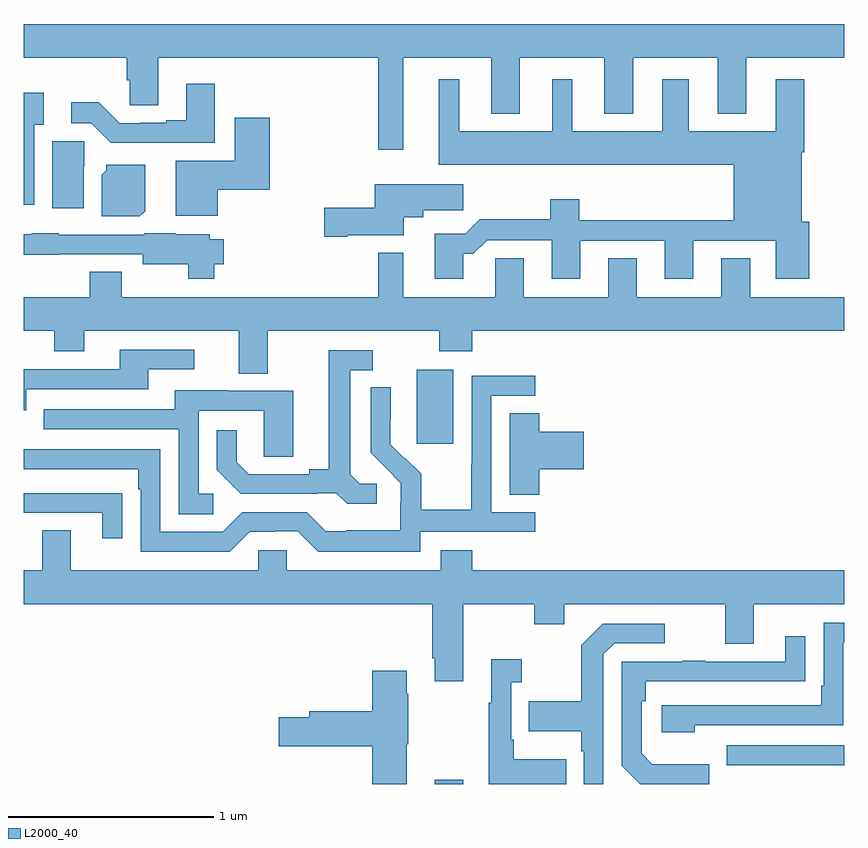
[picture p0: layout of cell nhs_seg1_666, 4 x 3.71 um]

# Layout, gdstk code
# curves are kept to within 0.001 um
import gdstk
lib = gdstk.Library(unit=1e-6, precision=1e-09)
def R(c, l, rs):  # rectangles x0, y0, x1, y1
    for r in rs: c.add(gdstk.rectangle(r[:2], r[2:], *l))
def P(c, l, *ps):  # polygons
    for p in ps: c.add(gdstk.Polygon(p, *l))
L2000_40 = (2000, 40)

nhs_seg1_666 = lib.new_cell('nhs_seg1_666')
R(nhs_seg1_666, L2000_40, [(149.003,540.199,149.143,540.22), (150.427,540.291,151,540.387), (148.916,541.857,149.095,542.218)])
P(nhs_seg1_666, L2000_40, [(148.849,543.74),(149.279,543.74),(149.279,543.467),(149.419,543.467),(149.419,543.74),(149.831,543.74),(149.831,543.467),(149.971,543.467),(149.971,543.74),(150.383,543.74),(150.383,543.467),(150.523,543.467),(150.523,543.74),(151,543.74),(151,543.904),(147,543.904),(147,543.74),(147.503,543.74),(147.503,543.63),(147.516,543.63),(147.516,543.508),(147.655,543.508),(147.655,543.74),(148.728,543.74),(148.728,543.291),(148.849,543.291)],
  [(149.143,542.783),(149.192,542.783),(149.259,542.85),(149.573,542.85),(149.573,542.661),(149.713,542.661),(149.713,542.847),(150.125,542.847),(150.125,542.661),(150.265,542.661),(150.265,542.847),(150.665,542.847),(150.665,542.661),(150.83,542.661),(150.83,542.94),(150.793,542.94),(150.793,543.278),(150.806,543.278),(150.806,543.634),(150.665,543.634),(150.665,543.382),(150.241,543.382),(150.241,543.634),(150.113,543.634),(150.113,543.382),(149.674,543.382),(149.674,543.634),(149.576,543.634),(149.576,543.382),(149.122,543.382),(149.122,543.634),(149.024,543.634),(149.024,543.218),(150.461,543.218),(150.461,542.948),(149.708,542.948),(149.708,543.049),(149.566,543.049),(149.566,542.951),(149.222,542.951),(149.152,542.881),(149.003,542.881),(149.003,542.661),(149.143,542.661)],
  [(147.931,543.613),(147.791,543.613),(147.791,543.436),(147.695,543.436),(147.695,543.423),(147.568,543.423),(147.568,543.42),(147.468,543.42),(147.366,543.523),(147.231,543.523),(147.231,543.42),(147.33,543.42),(147.424,543.326),(147.931,543.326)],
  [(147.052,543.414),(147.097,543.414),(147.097,543.568),(147,543.568),(147,543.024),(147.052,543.024)],
  [(147.946,543.095),(148.199,543.095),(148.199,543.448),(148.028,543.448),(148.028,543.238),(147.74,543.238),(147.74,542.969),(147.946,542.969)],
  [(147.292,543.21),(147.296,543.21),(147.296,543.333),(147.14,543.333),(147.14,543.006),(147.292,543.006)],
  [(147.592,542.992),(147.592,543.217),(147.402,543.217),(147.402,543.192),(147.38,543.17),(147.38,542.966),(147.566,542.966)],
  [(148.576,542.873),(148.852,542.873),(148.852,542.963),(148.948,542.963),(148.948,542.995),(149.143,542.995),(149.143,543.124),(148.712,543.124),(148.712,543.008),(148.464,543.008),(148.464,542.866),(148.576,542.866)],
  [(147.929,542.732),(147.974,542.732),(147.974,542.854),(147.906,542.854),(147.906,542.878),(147.738,542.878),(147.738,542.884),(147.588,542.884),(147.588,542.877),(147.171,542.877),(147.171,542.884),(147.039,542.884),(147.039,542.878),(147,542.878),(147,542.78),(147.171,542.78),(147.171,542.781),(147.581,542.781),(147.581,542.732),(147.801,542.732),(147.801,542.663),(147.929,542.663)],
  [(148.189,542.408),(149.026,542.408),(149.026,542.309),(149.186,542.309),(149.186,542.408),(151,542.408),(151,542.572),(150.541,542.572),(150.541,542.762),(150.401,542.762),(150.401,542.572),(149.989,542.572),(149.989,542.762),(149.849,542.762),(149.849,542.572),(149.437,542.572),(149.437,542.762),(149.298,542.762),(149.298,542.572),(148.849,542.572),(148.849,542.788),(148.728,542.788),(148.728,542.572),(147.477,542.572),(147.477,542.696),(147.322,542.696),(147.322,542.572),(147,542.572),(147,542.408),(147.148,542.408),(147.148,542.309),(147.295,542.309),(147.295,542.408),(148.049,542.408),(148.049,542.2),(148.189,542.2)],
  [(147.012,542.124),(147.607,542.124),(147.607,542.22),(147.832,542.22),(147.832,542.316),(147.467,542.316),(147.467,542.22),(147,542.22),(147,542.021),(147.012,542.021)],
  [(148.72,541.662),(148.638,541.662),(148.591,541.709),(148.591,542.217),(148.702,542.217),(148.702,542.313),(148.487,542.313),(148.487,541.733),(148.391,541.733),(148.391,541.71),(148.096,541.71),(148.039,541.767),(148.039,541.924),(147.942,541.924),(147.942,541.73),(148.058,541.614),(148.43,541.614),(148.43,541.617),(148.524,541.617),(148.576,541.565),(148.72,541.565)],
  [(148.932,541.428),(149.494,541.428),(149.494,541.524),(149.28,541.524),(149.28,542.091),(149.494,542.091),(149.494,542.19),(149.184,542.19),(149.184,541.76),(149.182,541.76),(149.182,541.537),(148.937,541.537),(148.937,541.711),(148.86,541.788),(148.857,541.785),(148.787,541.856),(148.788,542.132),(148.692,542.132),(148.692,541.814),(148.838,541.666),(148.838,541.569),(148.836,541.569),(148.836,541.435),(148.573,541.435),(148.573,541.431),(148.473,541.431),(148.38,541.524),(148.065,541.524),(147.969,541.428),(147.666,541.428),(147.666,541.83),(147,541.83),(147,541.734),(147.557,541.734),(147.557,541.637),(147.57,541.637),(147.57,541.332),(148.005,541.332),(148.101,541.428),(148.22,541.428),(148.22,541.431),(148.335,541.431),(148.435,541.331),(148.932,541.331)],
  [(147.925,541.614),(147.852,541.614),(147.852,542.019),(148.17,542.019),(148.17,541.795),(148.315,541.795),(148.315,542.115),(147.991,542.115),(147.991,542.119),(147.737,542.119),(147.737,542.025),(147.097,542.025),(147.097,541.929),(147.756,541.929),(147.756,541.513),(147.925,541.513)],
  [(149.513,541.733),(149.731,541.733),(149.731,541.916),(149.513,541.916),(149.513,542.006),(149.369,542.006),(149.369,541.609),(149.513,541.609)],
  [(147.479,541.616),(147.377,541.616),(147.377,541.617),(147,541.617),(147,541.521),(147.383,541.521),(147.383,541.398),(147.479,541.398)],
  [(149.143,541.076),(149.488,541.076),(149.488,540.977),(149.635,540.977),(149.635,541.076),(150.419,541.076),(150.419,540.882),(150.559,540.882),(150.559,541.076),(151,541.076),(151,541.24),(149.186,541.24),(149.186,541.339),(149.033,541.339),(149.033,541.24),(148.281,541.24),(148.281,541.338),(148.143,541.338),(148.143,541.24),(147.229,541.24),(147.229,541.435),(147.089,541.435),(147.089,541.24),(147,541.24),(147,541.076),(148.991,541.076),(148.991,540.811),(149.003,540.811),(149.003,540.699),(149.143,540.699)],
  [(150.272,540.486),(150.996,540.486),(150.996,540.888),(151,540.888),(151,540.984),(150.9,540.984),(150.9,540.679),(150.887,540.679),(150.887,540.582),(150.111,540.582),(150.111,540.452),(150.272,540.452)],
  [(149.826,540.831),(149.88,540.885),(150.124,540.885),(150.124,540.981),(149.823,540.981),(149.718,540.875),(149.718,540.603),(149.461,540.603),(149.461,540.455),(149.718,540.455),(149.718,540.359),(149.73,540.359),(149.73,540.199),(149.826,540.199)],
  [(150.342,540.295),(150.065,540.295),(150.012,540.348),(150.012,540.602),(150.032,540.602),(150.032,540.699),(150.809,540.7),(150.809,540.919),(150.713,540.919),(150.713,540.795),(150.323,540.795),(150.323,540.8),(150.211,540.8),(150.211,540.795),(149.916,540.795),(149.916,540.288),(150.005,540.199),(150.342,540.199)],
  [(149.645,540.319),(149.389,540.319),(149.389,540.415),(149.376,540.415),(149.376,540.695),(149.428,540.695),(149.428,540.808),(149.279,540.808),(149.279,540.595),(149.268,540.595),(149.268,540.199),(149.645,540.199)],
  [(148.867,540.393),(148.875,540.393),(148.875,540.638),(148.867,540.638),(148.867,540.751),(148.7,540.751),(148.7,540.554),(148.391,540.554),(148.391,540.524),(148.242,540.524),(148.242,540.382),(148.7,540.382),(148.7,540.199),(148.867,540.199)])

lib.write_gds('nhs_seg1_666.gds')
